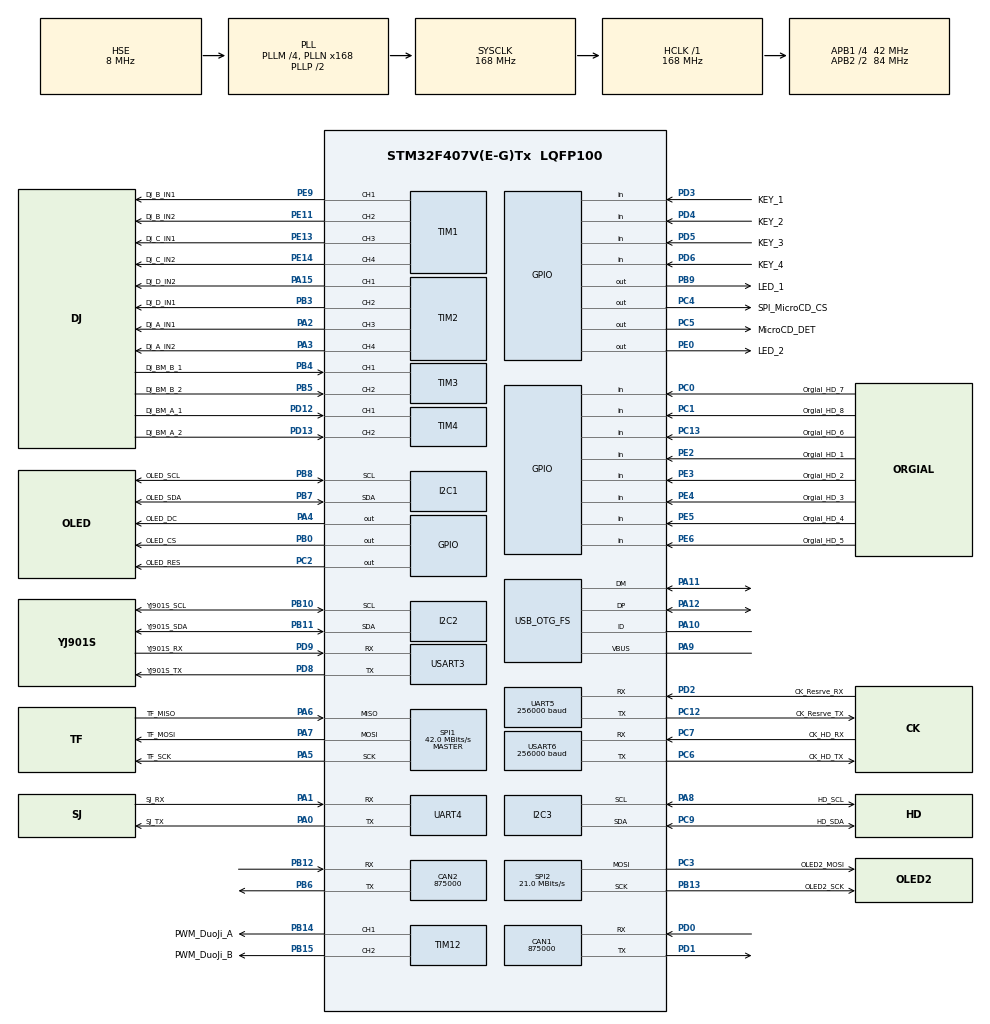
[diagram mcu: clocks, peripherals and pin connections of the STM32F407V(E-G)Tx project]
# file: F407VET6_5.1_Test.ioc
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CAN1.CalculateBaudRate=875000
CAN1.CalculateTimeBit=1142
CAN1.CalculateTimeQuantum=380.95238095238096
CAN2.CalculateBaudRate=875000
CAN2.CalculateTimeBit=1142
CAN2.CalculateTimeQuantum=380.95238095238096
I2C1.I2C_Mode=I2C_Fast
Mcu.Family=STM32F4
Mcu.Name=STM32F407V(E-G)Tx
Mcu.Package=LQFP100
NVIC.PriorityGroup=NVIC_PRIORITYGROUP_4
PA0-WKUP.GPIO_Label=SJ_TX
PA0-WKUP.Mode=Asynchronous
PA0-WKUP.Signal=UART4_TX
PA1.GPIO_Label=SJ_RX
PA1.Mode=Asynchronous
PA1.Signal=UART4_RX
PA10.Mode=OTG/Dual_Role_Device
PA10.Signal=USB_OTG_FS_ID
PA11.Mode=OTG/Dual_Role_Device
PA11.Signal=USB_OTG_FS_DM
PA12.Mode=OTG/Dual_Role_Device
PA12.Signal=USB_OTG_FS_DP
PA13.Mode=Serial_Wire
PA13.Signal=SYS_JTMS-SWDIO
PA14.Mode=Serial_Wire
PA14.Signal=SYS_JTCK-SWCLK
PA15.GPIO_Label=DJ_D_IN2
PA15.Signal=S_TIM2_CH1_ETR
PA2.GPIO_Label=DJ_A_IN1
PA2.Signal=S_TIM2_CH3
PA3.GPIO_Label=DJ_A_IN2
PA3.Signal=S_TIM2_CH4
PA4.GPIO_Label=OLED_DC
PA4.Signal=GPIO_Output
PA5.GPIO_Label=TF_SCK
PA5.Mode=Full_Duplex_Master
PA5.Signal=SPI1_SCK
PA6.GPIO_Label=TF_MISO
PA6.Mode=Full_Duplex_Master
PA6.Signal=SPI1_MISO
PA7.GPIO_Label=TF_MOSI
PA7.Mode=Full_Duplex_Master
PA7.Signal=SPI1_MOSI
PA8.GPIO_Label=HD_SCL
PA8.Mode=I2C
PA8.Signal=I2C3_SCL
PA9.Mode=Activate_VBUS
PA9.Signal=USB_OTG_FS_VBUS
PB0.GPIO_Label=OLED_CS
PB0.Signal=GPIO_Output
PB10.GPIO_Label=YJ901S_SCL
PB10.Mode=I2C
PB10.Signal=I2C2_SCL
PB11.GPIO_Label=YJ901S_SDA
PB11.Mode=I2C
PB11.Signal=I2C2_SDA
PB12.Mode=CAN_Activate
PB12.Signal=CAN2_RX
PB13.GPIO_Label=OLED2_SCK
PB13.Mode=TX_Only_Simplex_Unidirect_Master
PB13.Signal=SPI2_SCK
PB14.GPIO_Label=PWM_DuoJi_A
PB14.Signal=S_TIM12_CH1
PB15.GPIO_Label=PWM_DuoJi_B
PB15.Signal=S_TIM12_CH2
PB3.GPIO_Label=DJ_D_IN1
PB3.Signal=S_TIM2_CH2
PB4.GPIO_Label=DJ_BM_B_1
PB4.Signal=S_TIM3_CH1
PB5.GPIO_Label=DJ_BM_B_2
PB5.Signal=S_TIM3_CH2
PB6.Mode=CAN_Activate
PB6.Signal=CAN2_TX
PB7.GPIO_Label=OLED_SDA
PB7.Mode=I2C
PB7.Signal=I2C1_SDA
PB8.GPIO_Label=OLED_SCL
PB8.Mode=I2C
PB8.Signal=I2C1_SCL
PB9.GPIO_Label=LED_1
PB9.Signal=GPIO_Output
PC0.GPIO_Label=Orgial_HD_7
PC0.Signal=GPIO_Input
PC1.GPIO_Label=Orgial_HD_8
PC1.Signal=GPIO_Input
PC12.GPIO_Label=CK_Resrve_TX
PC12.Mode=Asynchronous
PC12.Signal=UART5_TX
PC13-ANTI_TAMP.GPIO_Label=Orgial_HD_6
PC13-ANTI_TAMP.Signal=GPIO_Input
PC2.GPIO_Label=OLED_RES
PC2.Signal=GPIO_Output
PC3.GPIO_Label=OLED2_MOSI
PC3.Mode=TX_Only_Simplex_Unidirect_Master
PC3.Signal=SPI2_MOSI
PC4.GPIO_Label=SPI_MicroCD_CS
PC4.Signal=GPIO_Output
PC5.GPIO_Label=MicroCD_DET
PC5.Signal=GPIO_Output
PC6.GPIO_Label=CK_HD_TX
PC6.Mode=Asynchronous
PC6.Signal=USART6_TX
PC7.GPIO_Label=CK_HD_RX
PC7.Mode=Asynchronous
PC7.Signal=USART6_RX
PC9.GPIO_Label=HD_SDA
PC9.Mode=I2C
PC9.Signal=I2C3_SDA
PD0.Mode=CAN_Activate
PD0.Signal=CAN1_RX
PD1.Mode=CAN_Activate
PD1.Signal=CAN1_TX
PD12.GPIO_Label=DJ_BM_A_1
PD12.Signal=S_TIM4_CH1
PD13.GPIO_Label=DJ_BM_A_2
PD13.Signal=S_TIM4_CH2
PD2.GPIO_Label=CK_Resrve_RX
PD2.Mode=Asynchronous
PD2.Signal=UART5_RX
PD3.GPIO_Label=KEY_1
PD3.Signal=GPIO_Input
PD4.GPIO_Label=KEY_2
PD4.Signal=GPIO_Input
PD5.GPIO_Label=KEY_3
PD5.Signal=GPIO_Input
PD6.GPIO_Label=KEY_4
PD6.Signal=GPIO_Input
PD8.GPIO_Label=YJ901S_TX
PD8.Mode=Asynchronous
PD8.Signal=USART3_TX
PD9.GPIO_Label=YJ901S_RX
PD9.Mode=Asynchronous
PD9.Signal=USART3_RX
PE0.GPIO_Label=LED_2
PE0.Signal=GPIO_Output
PE11.GPIO_Label=DJ_B_IN2
PE11.Signal=S_TIM1_CH2
PE13.GPIO_Label=DJ_C_IN1
PE13.Signal=S_TIM1_CH3
PE14.GPIO_Label=DJ_C_IN2
PE14.Signal=S_TIM1_CH4
PE2.GPIO_Label=Orgial_HD_1
PE2.Signal=GPIO_Input
PE3.GPIO_Label=Orgial_HD_2
PE3.Signal=GPIO_Input
PE4.GPIO_Label=Orgial_HD_3
PE4.Signal=GPIO_Input
PE5.GPIO_Label=Orgial_HD_4
PE5.Signal=GPIO_Input
PE6.GPIO_Label=Orgial_HD_5
PE6.Signal=GPIO_Input
PE9.GPIO_Label=DJ_B_IN1
PE9.Signal=S_TIM1_CH1
PH0-OSC_IN.Mode=HSE-External-Oscillator
PH0-OSC_IN.Signal=RCC_OSC_IN
PH1-OSC_OUT.Mode=HSE-External-Oscillator
PH1-OSC_OUT.Signal=RCC_OSC_OUT
ProjectManager.HeapSize=0x200
ProjectManager.StackSize=0x400
ProjectManager.TargetToolchain=MDK-ARM V5.32
RCC.48MHZClocksFreq_Value=48000000
RCC.AHBFreq_Value=168000000
RCC.APB1CLKDivider=RCC_HCLK_DIV4
RCC.APB1Freq_Value=42000000
RCC.APB1TimFreq_Value=84000000
RCC.APB2CLKDivider=RCC_HCLK_DIV2
RCC.APB2Freq_Value=84000000
RCC.APB2TimFreq_Value=168000000
RCC.CortexFreq_Value=168000000
RCC.HCLKFreq_Value=168000000
RCC.HSE_VALUE=8000000
RCC.HSI_VALUE=16000000
RCC.LSE_VALUE=32768
RCC.PLLM=4
RCC.PLLN=168
RCC.PLLQ=7
RCC.SYSCLKFreq_VALUE=168000000
RCC.SYSCLKSource=RCC_SYSCLKSOURCE_PLLCLK
RCC.VCOOutputFreq_Value=336000000
SH.S_TIM12_CH1.0=TIM12_CH1,PWM Generation1 CH1
SH.S_TIM12_CH2.0=TIM12_CH2,PWM Generation2 CH2
SH.S_TIM1_CH1.0=TIM1_CH1,PWM Generation1 CH1
SH.S_TIM1_CH2.0=TIM1_CH2,PWM Generation2 CH2
SH.S_TIM1_CH3.0=TIM1_CH3,PWM Generation3 CH3
SH.S_TIM1_CH4.0=TIM1_CH4,PWM Generation4 CH4
SH.S_TIM2_CH1_ETR.0=TIM2_CH1,PWM Generation1 CH1
SH.S_TIM2_CH2.0=TIM2_CH2,PWM Generation2 CH2
SH.S_TIM2_CH3.0=TIM2_CH3,PWM Generation3 CH3
SH.S_TIM2_CH4.0=TIM2_CH4,PWM Generation4 CH4
SH.S_TIM3_CH1.0=TIM3_CH1,Encoder_Interface
SH.S_TIM3_CH2.0=TIM3_CH2,Encoder_Interface
SH.S_TIM4_CH1.0=TIM4_CH1,Encoder_Interface
SH.S_TIM4_CH2.0=TIM4_CH2,Encoder_Interface
SPI1.CalculateBaudRate=42.0 MBits/s
SPI1.Direction=SPI_DIRECTION_2LINES
SPI1.Mode=SPI_MODE_MASTER
SPI1.VirtualType=VM_MASTER
SPI2.CalculateBaudRate=21.0 MBits/s
SPI2.Direction=SPI_DIRECTION_2LINES
SPI2.Mode=SPI_MODE_MASTER
SPI2.VirtualType=VM_MASTER
TIM1.Channel-PWM\ Generation1\ CH1=TIM_CHANNEL_1
TIM1.Channel-PWM\ Generation2\ CH2=TIM_CHANNEL_2
TIM1.Channel-PWM\ Generation3\ CH3=TIM_CHANNEL_3
TIM1.Channel-PWM\ Generation4\ CH4=TIM_CHANNEL_4
TIM12.Channel-PWM\ Generation1\ CH1=TIM_CHANNEL_1
TIM12.Channel-PWM\ Generation2\ CH2=TIM_CHANNEL_2
TIM2.Channel-PWM\ Generation1\ CH1=TIM_CHANNEL_1
TIM2.Channel-PWM\ Generation2\ CH2=TIM_CHANNEL_2
TIM2.Channel-PWM\ Generation3\ CH3=TIM_CHANNEL_3
TIM2.Channel-PWM\ Generation4\ CH4=TIM_CHANNEL_4
UART4.VirtualMode=Asynchronous
UART5.BaudRate=256000
UART5.VirtualMode=Asynchronous
USART3.VirtualMode=VM_ASYNC
USART6.BaudRate=256000
USART6.VirtualMode=VM_ASYNC
board=custom

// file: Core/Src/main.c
/* USER CODE BEGIN Header */
/**
  ******************************************************************************
  * @file           : main.c
  * @brief          : Main program body
  ******************************************************************************
  * @attention
  *
  * Copyright (c) 2026 STMicroelectronics.
  * All rights reserved.
  *
  * This software is licensed under terms that can be found in the LICENSE file
  * in the root directory of this software component.
  * If no LICENSE file comes with this software, it is provided AS-IS.
  *
  ******************************************************************************
  */
/* USER CODE END Header */
#include "main.h"
#include "can.h"
#include "i2c.h"
#include "spi.h"
#include "tim.h"
#include "usart.h"
#include "usb_otg.h"
#include "gpio.h"

/* USER CODE BEGIN Includes */
#include "emm_ttl_motor.h"
#include "gimbal_tracker.h"
#include "openmv_vision.h"
#include "tracker_monitor.h"

/* USER CODE END Includes */

void SystemClock_Config(void);
/* USER CODE BEGIN PFP */
static void StatusLed_Init(void);
static void StatusLed_Poll(void);

/* USER CODE END PFP */

int main(void)
{

  /* MCU Configuration--------------------------------------------------------*/

  /* Reset of all peripherals, Initializes the Flash interface and the Systick. */
  HAL_Init();

  /* Configure the system clock */
  SystemClock_Config();

  /* Initialize all configured peripherals */
  MX_GPIO_Init();
  MX_I2C1_Init();
  MX_SPI1_Init();
  MX_TIM1_Init();
  MX_TIM3_Init();
  MX_TIM4_Init();
  MX_UART4_Init();
  MX_UART5_Init();
  MX_USART6_UART_Init();
  MX_I2C2_Init();
  MX_I2C3_Init();
  MX_TIM2_Init();
  MX_USART3_UART_Init();
  MX_CAN1_Init();
  MX_CAN2_Init();
  MX_SPI2_Init();
  MX_TIM12_Init();
  MX_USB_OTG_FS_USB_Init();
  /* USER CODE BEGIN 2 */
  if (OpenMVVision_Init() != HAL_OK)
  {
    Error_Handler();
  }
  if (EmmTtlMotor_Init() != HAL_OK)
  {
    Error_Handler();
  }
  if (GimbalTracker_Init() != HAL_OK)
  {
    Error_Handler();
  }
  TrackerMonitor_Init();
  StatusLed_Init();

  /* USER CODE END 2 */

  /* Infinite loop */
  while (1)
  {

    /* USER CODE BEGIN 3 */
    uint32_t now_ms = HAL_GetTick();

    OpenMVVision_Poll(now_ms);
    EmmTtlMotor_Poll(now_ms);
    GimbalTracker_Poll(now_ms);
    TrackerMonitor_Poll(now_ms);
    StatusLed_Poll();
  }
  /* USER CODE END 3 */
}

void SystemClock_Config(void)
{
  RCC_OscInitTypeDef RCC_OscInitStruct = {0};
  RCC_ClkInitTypeDef RCC_ClkInitStruct = {0};

  /** Configure the main internal regulator output voltage
  */
  __HAL_RCC_PWR_CLK_ENABLE();
  __HAL_PWR_VOLTAGESCALING_CONFIG(PWR_REGULATOR_VOLTAGE_SCALE1);

  /** Initializes the RCC Oscillators according to the specified parameters
  * in the RCC_OscInitTypeDef structure.
  */
  RCC_OscInitStruct.OscillatorType = RCC_OSCILLATORTYPE_HSE;
  RCC_OscInitStruct.HSEState = RCC_HSE_ON;
  RCC_OscInitStruct.PLL.PLLState = RCC_PLL_ON;
  RCC_OscInitStruct.PLL.PLLSource = RCC_PLLSOURCE_HSE;
  RCC_OscInitStruct.PLL.PLLM = 4;
  RCC_OscInitStruct.PLL.PLLN = 168;
  RCC_OscInitStruct.PLL.PLLP = RCC_PLLP_DIV2;
  RCC_OscInitStruct.PLL.PLLQ = 7;
  if (HAL_RCC_OscConfig(&RCC_OscInitStruct) != HAL_OK)
  {
    Error_Handler();
  }

  /** Initializes the CPU, AHB and APB buses clocks
  */
  RCC_ClkInitStruct.ClockType = RCC_CLOCKTYPE_HCLK|RCC_CLOCKTYPE_SYSCLK
                              |RCC_CLOCKTYPE_PCLK1|RCC_CLOCKTYPE_PCLK2;
  RCC_ClkInitStruct.SYSCLKSource = RCC_SYSCLKSOURCE_PLLCLK;
  RCC_ClkInitStruct.AHBCLKDivider = RCC_SYSCLK_DIV1;
  RCC_ClkInitStruct.APB1CLKDivider = RCC_HCLK_DIV4;
  RCC_ClkInitStruct.APB2CLKDivider = RCC_HCLK_DIV2;

  if (HAL_RCC_ClockConfig(&RCC_ClkInitStruct, FLASH_LATENCY_5) != HAL_OK)
  {
    Error_Handler();
  }
}

/* USER CODE BEGIN 4 */
static void StatusLed_Apply(void)
{
  const GimbalTrackerSnapshot *snapshot;
  GPIO_PinState led_1_state;
  GPIO_PinState led_2_state;

  snapshot = GimbalTracker_GetSnapshot();
  led_1_state = (OpenMVVision_IsOnline() != 0U) ? GPIO_PIN_SET : GPIO_PIN_RESET;
  led_2_state = GPIO_PIN_RESET;
  if ((snapshot != NULL)
      && ((snapshot->target_valid != 0U)
          || (snapshot->tracking != 0U)
          || (snapshot->locked != 0U)))
  {
    led_2_state = GPIO_PIN_SET;
  }

  HAL_GPIO_WritePin(GPIOB, LED_1_Pin, led_1_state);
  HAL_GPIO_WritePin(GPIOE, LED_2_Pin, led_2_state);
}

static void StatusLed_Init(void)
{
  StatusLed_Apply();
}

static void StatusLed_Poll(void)
{
  StatusLed_Apply();
}

void HAL_UART_RxCpltCallback(UART_HandleTypeDef *huart)
{
  if ((huart != NULL) && (huart->Instance == UART4))
  {
    OpenMVVision_OnRxByte();
  }
}

void HAL_UART_ErrorCallback(UART_HandleTypeDef *huart)
{
  if ((huart != NULL) && (huart->Instance == UART4))
  {
    OpenMVVision_OnRxError();
  }
}

/* USER CODE END 4 */

void Error_Handler(void)
{
  __disable_irq();
  while (1)
  {
  }
}
